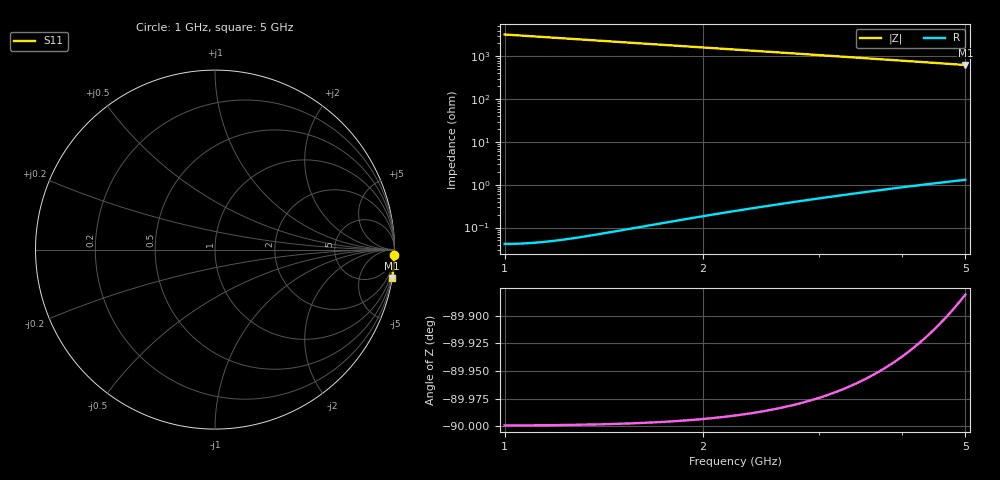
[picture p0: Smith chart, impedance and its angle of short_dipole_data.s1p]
! Touchstone file exported from HFSS 2019.1.0
!  File:  E:/matching network/HFSS/Ding_project/dipole_simulation/dipole_model.aedt
!  Generated:  1:41:45 PM  Nov 19, 2019
!  Design:  short_dipole
!  Project:  dipole_model
!  Setup:  Setup1
!  Solution:  Sweep
! Variables:
!  dipole_length = 6.25mm
!  gap = 0.0625mm
!  relative_spacing = 0
!  spacing = 0mm
!  thick = 0.125mm
!  wavelength = 125mm
# GHZ S MA R 50.000000
! Modal data exported
! Port[1] = 1:1
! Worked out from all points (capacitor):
!   401 points, 1 GHz to 5 GHz, reference 50 ohm
!   read as one part to ground: C = 49.1 fF near 1.02 GHz
!   lowest |Z| = 628 ohm at 5 GHz (marker M1)
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1  1 -1.8
! Gamma ! 0 0
! Port Impedance50 0
1.01  1 -1.8
1.02  1 -1.8
1.26  1 -2.2
1.5  1 -2.7
1.75  1 -3.1
2  1 -3.5
2.25  1 -4.0
2.5  1 -4.4
2.75  1 -4.9
3  1 -5.3
3.25  0.9999 -5.8
3.38  0.9999 -6.0
3.5  0.9999 -6.3
3.63  0.9999 -6.5
3.75  0.9999 -6.7
3.88  0.9999 -7.0
4  0.9999 -7.2
4.13  0.9998 -7.4
4.25  0.9998 -7.7
4.38  0.9998 -7.9
4.5  0.9998 -8.1
4.62  0.9998 -8.4
4.74  0.9997 -8.6
4.86  0.9997 -8.8
4.98  0.9997 -9.1
4.99  0.9997 -9.1
5  0.9997 -9.1
